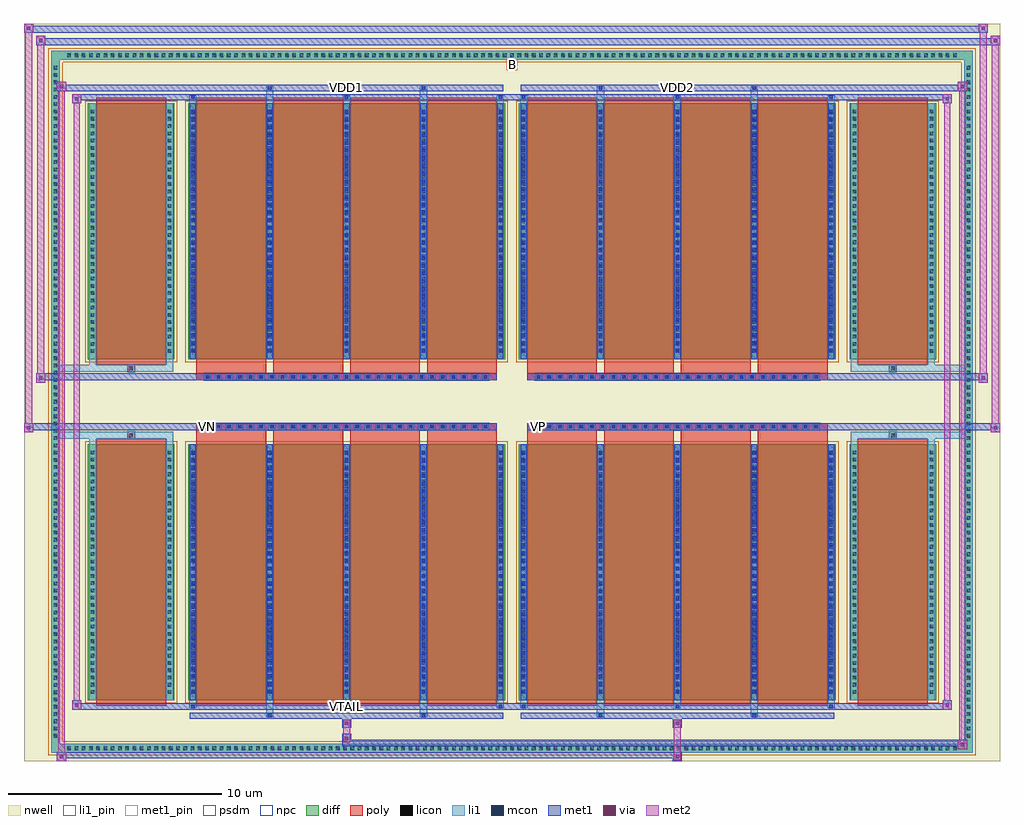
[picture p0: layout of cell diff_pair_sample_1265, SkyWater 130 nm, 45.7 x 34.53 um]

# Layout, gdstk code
import gdstk
lib = gdstk.Library(unit=1e-6, precision=5e-09)
def R(c, l, rs):  # rectangles x0, y0, x1, y1
    for r in rs: c.add(gdstk.rectangle(r[:2], r[2:], *l))
def A(c, l, x, y, w, h, nx, ny, dx, dy):  # array of equal rectangles
    R(c, l, [(x+i*dx, y+j*dy, x+i*dx+w, y+j*dy+h) for i in range(nx) for j in range(ny)])
def P(c, l, *ps):  # polygons
    for p in ps: c.add(gdstk.Polygon(p, *l))
nwell = (64, 20)
diff = (65, 20)
poly = (66, 20)
licon = (66, 44)
li1_pin = (67, 16)
li1 = (67, 20)
mcon = (67, 44)
met1_pin = (68, 16)
met1 = (68, 20)
via = (68, 44)
met2 = (69, 20)
psdm = (94, 20)
npc = (95, 20)

diff_pair_sample_1265 = lib.new_cell('diff_pair_sample_1265')
R(diff_pair_sample_1265, nwell, [(-22.85,-16.83,22.85,17.7), (-20.17,-15.02,-0.01,-0.8), (0.01,-15.02,20.17,-0.8), (-20.17,0.8,-0.01,15.02), (0.01,0.8,20.17,15.02)])
A(diff_pair_sample_1265, diff, -20.945, -16.43, 0.41, 0.41, 123, 2, 0.34, 32.45)
A(diff_pair_sample_1265, diff, -21.58, -15.845, 0.41, 0.41, 1, 93, 0, 0.34)
A(diff_pair_sample_1265, diff, 21.17, -15.845, 0.41, 0.41, 1, 93, 0, 0.34)
R(diff_pair_sample_1265, diff, [(-20.945,-16.43,20.945,-16.02), (-21.58,-15.845,-21.17,15.845), (21.17,-15.845,21.58,15.845), (-19.86,-13.975,-15.81,-1.985), (-15.17,-13.975,-0.32,-1.985), (0.32,-13.975,15.17,-1.985), (15.81,-13.975,19.86,-1.985), (-19.86,1.985,-15.81,13.975), (-15.17,1.985,-0.32,13.975), (0.32,1.985,15.17,13.975), (15.81,1.985,19.86,13.975), (-20.945,16.02,20.945,16.43)])
P(diff_pair_sample_1265, diff, [(21.58,16.43),(-21.58,16.43),(-21.58,-16.02),(-21.17,-16.02),(-21.17,16.02),(21.17,16.02),(21.17,-16.02),(-21.17,-16.02),(-21.58,-16.02),(-21.58,-16.43),(21.58,-16.43)])
A(diff_pair_sample_1265, poly, -14.78, -14.225, 3.27, 12.49, 4, 2, 3.6, 15.96)
A(diff_pair_sample_1265, poly, 0.71, -14.225, 3.27, 12.49, 4, 2, 3.6, 15.96)
A(diff_pair_sample_1265, poly, -14.78, -1.735, 3.27, 0.405, 4, 2, 3.6, 3.065)
A(diff_pair_sample_1265, poly, 0.71, -1.735, 3.27, 0.405, 4, 2, 3.6, 3.065)
A(diff_pair_sample_1265, poly, -14.41, -1.33, 0.33, 0.33, 27, 2, 0.5, 2.33)
A(diff_pair_sample_1265, poly, 1.08, -1.33, 0.33, 0.33, 27, 2, 0.5, 2.33)
R(diff_pair_sample_1265, poly, [(-19.47,-14.225,-16.2,-1.735), (16.2,-14.225,19.47,-1.735), (-18,-1.735,-17.67,-1.405), (-18,-1.735,-17.67,-1.405), (17.67,-1.735,18,-1.405), (17.67,-1.735,18,-1.405), (-14.78,-1.33,-0.71,-1), (0.71,-1.33,14.78,-1), (-14.78,1,-0.71,1.33), (0.71,1,14.78,1.33), (-18,1.405,-17.67,1.735), (-18,1.405,-17.67,1.735), (17.67,1.405,18,1.735), (17.67,1.405,18,1.735), (-19.47,1.735,-16.2,14.225), (16.2,1.735,19.47,14.225)])
A(diff_pair_sample_1265, licon, -20.825, -16.31, 0.17, 0.17, 123, 2, 0.34, 32.45)
A(diff_pair_sample_1265, licon, -21.46, -15.725, 0.17, 0.17, 1, 93, 0, 0.34)
A(diff_pair_sample_1265, licon, 21.29, -15.725, 0.17, 0.17, 1, 93, 0, 0.34)
A(diff_pair_sample_1265, licon, -19.72, -13.675, 0.17, 0.17, 1, 34, 0, 0.34)
A(diff_pair_sample_1265, licon, -16.12, -13.675, 0.17, 0.17, 1, 34, 0, 0.34)
A(diff_pair_sample_1265, licon, -15.03, -13.675, 0.17, 0.17, 5, 34, 3.6, 0.34)
A(diff_pair_sample_1265, licon, 0.46, -13.675, 0.17, 0.17, 5, 34, 3.6, 0.34)
A(diff_pair_sample_1265, licon, 15.95, -13.675, 0.17, 0.17, 1, 34, 0, 0.34)
A(diff_pair_sample_1265, licon, 19.55, -13.675, 0.17, 0.17, 1, 34, 0, 0.34)
A(diff_pair_sample_1265, licon, -14.33, -1.25, 0.17, 0.17, 27, 2, 0.5, 2.33)
A(diff_pair_sample_1265, licon, 1.16, -1.25, 0.17, 0.17, 27, 2, 0.5, 2.33)
A(diff_pair_sample_1265, licon, -19.72, 2.285, 0.17, 0.17, 1, 34, 0, 0.34)
A(diff_pair_sample_1265, licon, -16.12, 2.285, 0.17, 0.17, 1, 34, 0, 0.34)
A(diff_pair_sample_1265, licon, -15.03, 2.285, 0.17, 0.17, 5, 34, 3.6, 0.34)
A(diff_pair_sample_1265, licon, 0.46, 2.285, 0.17, 0.17, 5, 34, 3.6, 0.34)
A(diff_pair_sample_1265, licon, 15.95, 2.285, 0.17, 0.17, 1, 34, 0, 0.34)
A(diff_pair_sample_1265, licon, 19.55, 2.285, 0.17, 0.17, 1, 34, 0, 0.34)
R(diff_pair_sample_1265, licon, [(-17.92,-1.655,-17.75,-1.485), (17.75,-1.655,17.92,-1.485), (-17.92,1.485,-17.75,1.655), (17.75,1.485,17.92,1.655)])
R(diff_pair_sample_1265, li1_pin, [(-0.25,15.52,0.25,16.02)])
A(diff_pair_sample_1265, li1, -20.905, -16.39, 0.33, 0.33, 123, 2, 0.34, 32.45)
A(diff_pair_sample_1265, li1, -21.54, -15.805, 0.33, 0.33, 1, 93, 0, 0.34)
A(diff_pair_sample_1265, li1, 21.21, -15.805, 0.33, 0.33, 1, 93, 0, 0.34)
A(diff_pair_sample_1265, li1, -15.11, -14.35, 0.33, 0.375, 3, 2, 7.2, 28.325)
A(diff_pair_sample_1265, li1, -15.03, -14.35, 0.17, 0.17, 3, 2, 7.2, 28.53)
A(diff_pair_sample_1265, li1, 0.38, -14.35, 0.33, 0.375, 3, 2, 7.2, 28.325)
A(diff_pair_sample_1265, li1, 0.46, -14.35, 0.17, 0.17, 3, 2, 7.2, 28.53)
A(diff_pair_sample_1265, li1, -15.11, -13.975, 0.33, 11.99, 5, 2, 3.6, 15.96)
A(diff_pair_sample_1265, li1, 0.38, -13.975, 0.33, 11.99, 5, 2, 3.6, 15.96)
A(diff_pair_sample_1265, li1, -19.8, -13.755, 0.33, 0.33, 1, 34, 0, 0.34)
A(diff_pair_sample_1265, li1, -16.2, -13.755, 0.33, 0.33, 1, 34, 0, 0.34)
A(diff_pair_sample_1265, li1, -15.11, -13.755, 0.33, 0.33, 5, 34, 3.6, 0.34)
A(diff_pair_sample_1265, li1, 0.38, -13.755, 0.33, 0.33, 5, 34, 3.6, 0.34)
A(diff_pair_sample_1265, li1, 15.87, -13.755, 0.33, 0.33, 1, 34, 0, 0.34)
A(diff_pair_sample_1265, li1, 19.47, -13.755, 0.33, 0.33, 1, 34, 0, 0.34)
A(diff_pair_sample_1265, li1, -15.03, -13.645, 0.17, 0.17, 5, 32, 3.6, 0.36)
A(diff_pair_sample_1265, li1, -15.03, -13.645, 0.17, 11.33, 5, 2, 3.6, 15.96)
A(diff_pair_sample_1265, li1, 0.46, -13.645, 0.17, 0.17, 5, 32, 3.6, 0.36)
A(diff_pair_sample_1265, li1, 0.46, -13.645, 0.17, 11.33, 5, 2, 3.6, 15.96)
A(diff_pair_sample_1265, li1, -14.41, -1.33, 0.33, 0.33, 27, 2, 0.5, 2.33)
A(diff_pair_sample_1265, li1, 1.08, -1.33, 0.33, 0.33, 27, 2, 0.5, 2.33)
A(diff_pair_sample_1265, li1, -19.8, 2.205, 0.33, 0.33, 1, 34, 0, 0.34)
A(diff_pair_sample_1265, li1, -16.2, 2.205, 0.33, 0.33, 1, 34, 0, 0.34)
A(diff_pair_sample_1265, li1, -15.11, 2.205, 0.33, 0.33, 5, 34, 3.6, 0.34)
A(diff_pair_sample_1265, li1, 0.38, 2.205, 0.33, 0.33, 5, 34, 3.6, 0.34)
A(diff_pair_sample_1265, li1, 15.87, 2.205, 0.33, 0.33, 1, 34, 0, 0.34)
A(diff_pair_sample_1265, li1, 19.47, 2.205, 0.33, 0.33, 1, 34, 0, 0.34)
A(diff_pair_sample_1265, li1, -15.03, 2.315, 0.17, 0.17, 5, 32, 3.6, 0.36)
A(diff_pair_sample_1265, li1, 0.46, 2.315, 0.17, 0.17, 5, 32, 3.6, 0.36)
R(diff_pair_sample_1265, li1, [(-21.58,-16.43,-21.17,-16.02), (-21.58,-16.43,-21.17,-16.02), (-21.17,-16.43,21.17,-16.02), (21.17,-16.43,21.58,-16.02), (21.17,-16.43,21.58,-16.02), (-21.58,-16.02,-21.17,16.02), (21.17,-16.02,21.58,16.02), (-11.51,-14.78,-11.18,-13.975), (-11.43,-14.78,-11.26,-14.61), (-4.31,-14.78,-3.98,-13.975), (-4.23,-14.78,-4.06,-14.61), (3.98,-14.78,4.31,-13.975), (4.06,-14.78,4.23,-14.61), (11.18,-14.78,11.51,-13.975), (11.26,-14.78,11.43,-14.61), (-19.8,-13.975,-19.47,-1.985), (-16.2,-13.975,-15.87,-1.985), (15.87,-13.975,16.2,-1.985), (19.47,-13.975,19.8,-1.985), (-19.8,-1.985,-19.47,-1.405), (-16.2,-1.985,-15.87,-1.405), (15.87,-1.985,16.2,-1.405), (19.47,-1.985,19.8,-1.405), (-21.58,-1.735,-18,-1.405), (-19.8,-1.735,-18,-1.405), (-18,-1.735,-17.67,-1.405), (-17.67,-1.735,-15.87,-1.405), (15.87,-1.735,17.67,-1.405), (17.67,-1.735,18,-1.405), (17.67,-1.735,21.58,-1.405), (18,-1.735,19.8,-1.405), (-21.58,1.405,-18,1.735), (-19.8,1.405,-18,1.735), (-19.8,1.405,-19.47,1.985), (-18,1.405,-17.67,1.735), (-17.67,1.405,-15.87,1.735), (-16.2,1.405,-15.87,1.985), (15.87,1.405,17.67,1.735), (15.87,1.405,16.2,1.985), (17.67,1.405,18,1.735), (17.67,1.405,21.58,1.735), (18,1.405,19.8,1.735), (19.47,1.405,19.8,1.985), (-19.8,1.985,-19.47,13.975), (-16.2,1.985,-15.87,13.975), (15.87,1.985,16.2,13.975), (19.47,1.985,19.8,13.975), (-11.51,13.975,-11.18,14.78), (-4.31,13.975,-3.98,14.78), (3.98,13.975,4.31,14.78), (11.18,13.975,11.51,14.78), (-11.43,14.61,-11.26,14.78), (-4.23,14.61,-4.06,14.78), (4.06,14.61,4.23,14.78), (11.26,14.61,11.43,14.78), (-21.58,16.02,-21.17,16.43), (-21.58,16.02,-21.17,16.43), (-21.17,16.02,21.17,16.43), (21.17,16.02,21.58,16.43), (21.17,16.02,21.58,16.43)])
A(diff_pair_sample_1265, mcon, -15.03, -14.35, 0.17, 0.17, 3, 2, 7.2, 28.53)
A(diff_pair_sample_1265, mcon, 0.46, -14.35, 0.17, 0.17, 3, 2, 7.2, 28.53)
A(diff_pair_sample_1265, mcon, -15.03, -13.645, 0.17, 0.17, 5, 32, 3.6, 0.36)
A(diff_pair_sample_1265, mcon, 0.46, -13.645, 0.17, 0.17, 5, 32, 3.6, 0.36)
A(diff_pair_sample_1265, mcon, -14.33, -1.25, 0.17, 0.17, 27, 2, 0.5, 2.33)
A(diff_pair_sample_1265, mcon, 1.16, -1.25, 0.17, 0.17, 27, 2, 0.5, 2.33)
A(diff_pair_sample_1265, mcon, -15.03, 2.315, 0.17, 0.17, 5, 32, 3.6, 0.36)
A(diff_pair_sample_1265, mcon, 0.46, 2.315, 0.17, 0.17, 5, 32, 3.6, 0.36)
R(diff_pair_sample_1265, mcon, [(-11.43,-14.78,-11.26,-14.61), (-4.23,-14.78,-4.06,-14.61), (4.06,-14.78,4.23,-14.61), (11.26,-14.78,11.43,-14.61), (-11.43,14.61,-11.26,14.78), (-4.23,14.61,-4.06,14.78), (4.06,14.61,4.23,14.78), (11.26,14.61,11.43,14.78)])
R(diff_pair_sample_1265, met1_pin, [(-7.88,-14.39,-7.61,-14.12), (-14.38,-1.29,-14.11,-1.02), (1.11,-1.29,1.38,-1.02), (-7.88,14.57,-7.61,14.84), (7.61,14.57,7.88,14.84)])
A(diff_pair_sample_1265, met1, -15.09, -14.41, 0.29, 0.29, 3, 2, 7.2, 28.53)
A(diff_pair_sample_1265, met1, 0.4, -14.41, 0.29, 0.29, 3, 2, 7.2, 28.53)
A(diff_pair_sample_1265, met1, -15.09, -13.975, 0.29, 11.99, 5, 2, 3.6, 15.96)
A(diff_pair_sample_1265, met1, 0.4, -13.975, 0.29, 11.99, 5, 2, 3.6, 15.96)
A(diff_pair_sample_1265, met1, -15.09, -13.705, 0.29, 0.29, 5, 32, 3.6, 0.36)
A(diff_pair_sample_1265, met1, 0.4, -13.705, 0.29, 0.29, 5, 32, 3.6, 0.36)
A(diff_pair_sample_1265, met1, -14.39, -1.31, 0.29, 0.29, 27, 2, 0.5, 2.33)
A(diff_pair_sample_1265, met1, 1.1, -1.31, 0.29, 0.29, 27, 2, 0.5, 2.33)
A(diff_pair_sample_1265, met1, -15.09, 2.255, 0.29, 0.29, 5, 32, 3.6, 0.36)
A(diff_pair_sample_1265, met1, 0.4, 2.255, 0.29, 0.29, 5, 32, 3.6, 0.36)
R(diff_pair_sample_1265, met1, [(-21.31,-16.83,-20.88,-16.4), (7.53,-16.83,7.96,-16.4), (-21.31,-16.69,7.96,-16.4), (20.88,-16.26,21.31,-15.83), (-7.96,-16.12,21.31,-15.83), (-7.96,-15.98,-7.53,-15.55), (-7.96,-15.27,-7.53,-14.84), (7.53,-15.27,7.96,-14.84), (-15.09,-14.84,-0.4,-14.55), (-11.49,-14.84,-11.2,-14.55), (-4.29,-14.84,-4,-14.55), (0.4,-14.84,15.09,-14.55), (4,-14.84,4.29,-14.55), (11.2,-14.84,11.49,-14.55), (-20.6,-14.41,-20.17,-13.98), (-20.6,-14.41,-15.09,-14.12), (-15.09,-14.41,-0.4,-14.12), (-0.4,-14.41,0.4,-14.12), (0.4,-14.41,15.09,-14.12), (15.09,-14.41,20.6,-14.12), (20.17,-14.41,20.6,-13.98), (-22.85,-1.43,-22.42,-1), (22.42,-1.43,22.85,-1), (-22.85,-1.33,-0.71,-1), (-14.78,-1.33,-0.71,-1), (0.71,-1.33,14.78,-1), (0.71,-1.33,22.85,-1), (-22.28,0.9,-21.85,1.33), (21.85,0.9,22.28,1.33), (-22.28,1,-14.78,1.33), (-14.78,1,-0.71,1.33), (0.71,1,14.78,1.33), (14.78,1,22.28,1.33), (-20.6,13.98,-20.17,14.41), (20.17,13.98,20.6,14.41), (-20.6,14.12,-15.09,14.41), (-15.09,14.12,-0.4,14.41), (-0.4,14.12,0.4,14.41), (0.4,14.12,15.09,14.41), (15.09,14.12,20.6,14.41), (-21.31,14.55,-20.88,14.98), (-21.31,14.55,-15.09,14.84), (-15.09,14.55,-0.4,14.84), (-11.49,14.55,-11.2,14.84), (-4.29,14.55,-4,14.84), (0.4,14.55,15.09,14.84), (4,14.55,4.29,14.84), (11.2,14.55,11.49,14.84), (15.09,14.55,21.31,14.84), (20.88,14.55,21.31,14.98), (-22.28,16.7,-21.85,17.13), (-22.28,16.7,-20.17,17.03), (-20.17,16.7,20.17,17.03), (20.17,16.7,22.85,17.03), (22.42,16.7,22.85,17.13), (-22.85,17.27,-22.42,17.7), (-22.85,17.27,-20.17,17.6), (-20.17,17.27,20.17,17.6), (20.17,17.27,22.28,17.6), (21.85,17.27,22.28,17.7)])
R(diff_pair_sample_1265, via, [(-21.17,-16.69,-21.02,-16.54), (7.67,-16.69,7.82,-16.54), (21.02,-16.12,21.17,-15.97), (-7.82,-15.84,-7.67,-15.69), (-7.82,-15.13,-7.67,-14.98), (7.67,-15.13,7.82,-14.98), (-20.46,-14.27,-20.31,-14.12), (20.31,-14.27,20.46,-14.12), (-22.71,-1.29,-22.56,-1.14), (22.56,-1.29,22.71,-1.14), (-22.14,1.04,-21.99,1.19), (21.99,1.04,22.14,1.19), (-20.46,14.12,-20.31,14.27), (20.31,14.12,20.46,14.27), (-21.17,14.69,-21.02,14.84), (21.02,14.69,21.17,14.84), (-22.14,16.84,-21.99,16.99), (22.56,16.84,22.71,16.99), (-22.71,17.41,-22.56,17.56), (21.99,17.41,22.14,17.56)])
R(diff_pair_sample_1265, met2, [(-21.31,-16.83,-20.88,-16.4), (-21.24,-16.83,-20.95,14.98), (-20.95,-16.83,-20.88,-16.4), (-21.26,-16.78,-20.93,-16.45), (7.58,-16.78,7.91,-16.45), (7.58,-16.45,7.91,-15.22), (20.88,-16.26,21.31,-15.83), (20.95,-16.26,21.24,14.98), (21.24,-16.26,21.31,-15.83), (20.93,-16.21,21.26,-15.88), (-7.91,-15.93,-7.58,-15.6), (-7.91,-15.6,-7.58,-15.22), (-7.91,-15.22,-7.58,-14.89), (7.58,-15.22,7.91,-14.89), (-20.6,-14.41,-20.17,-13.98), (-20.53,-14.41,-20.24,14.41), (-20.24,-14.41,-20.17,-13.98), (20.17,-14.41,20.6,-13.98), (20.24,-14.41,20.53,14.41), (20.53,-14.41,20.6,-13.98), (-20.55,-14.36,-20.22,-14.03), (20.22,-14.36,20.55,-14.03), (-22.85,-1.43,-22.42,-1), (-22.8,-1.43,-22.47,17.7), (-22.47,-1.43,-22.42,-1), (22.42,-1.43,22.85,-1), (22.47,-1.43,22.8,17.13), (22.8,-1.43,22.85,-1), (-22.8,-1.38,-22.47,-1.05), (22.47,-1.38,22.8,-1.05), (-22.28,0.9,-21.85,1.33), (-22.23,0.9,-21.9,17.13), (-21.9,0.9,-21.85,1.33), (21.85,0.9,22.28,1.33), (21.9,0.9,22.23,17.7), (22.23,0.9,22.28,1.33), (-22.23,0.95,-21.9,1.28), (21.9,0.95,22.23,1.28), (-20.6,13.98,-20.17,14.41), (-20.24,13.98,-20.17,14.41), (20.17,13.98,20.6,14.41), (20.53,13.98,20.6,14.41), (-20.55,14.03,-20.22,14.36), (20.22,14.03,20.55,14.36), (-21.31,14.55,-20.88,14.98), (-20.95,14.55,-20.88,14.98), (20.88,14.55,21.31,14.98), (21.24,14.55,21.31,14.98), (-21.26,14.6,-20.93,14.93), (20.93,14.6,21.26,14.93), (-22.28,16.7,-21.85,17.13), (-21.9,16.7,-21.85,17.13), (22.42,16.7,22.85,17.13), (22.8,16.7,22.85,17.13), (-22.23,16.75,-21.9,17.08), (22.47,16.75,22.8,17.08), (-22.85,17.27,-22.42,17.7), (-22.47,17.27,-22.42,17.7), (21.85,17.27,22.28,17.7), (22.23,17.27,22.28,17.7), (-22.8,17.32,-22.47,17.65), (21.9,17.32,22.23,17.65)])
R(diff_pair_sample_1265, psdm, [(-19.99,-14.105,-15.68,-1.855), (-15.3,-14.105,-0.19,-1.855), (0.19,-14.105,15.3,-1.855), (15.68,-14.105,19.99,-1.855), (-19.99,1.855,-15.68,14.105), (-15.3,1.855,-0.19,14.105), (0.19,1.855,15.3,14.105), (15.68,1.855,19.99,14.105)])
P(diff_pair_sample_1265, psdm, [(21.71,16.56),(-21.71,16.56),(-21.71,-15.89),(-21.04,-15.89),(-21.04,15.89),(21.04,15.89),(21.04,-15.89),(-21.04,-15.89),(-21.71,-15.89),(-21.71,-16.56),(21.71,-16.56)])
A(diff_pair_sample_1265, npc, -14.43, -1.35, 0.37, 0.37, 27, 2, 0.5, 2.33)
A(diff_pair_sample_1265, npc, 1.06, -1.35, 0.37, 0.37, 27, 2, 0.5, 2.33)
R(diff_pair_sample_1265, npc, [(-18.02,-1.755,-17.65,-1.385), (17.65,-1.755,18.02,-1.385), (-14.43,-1.35,-13.56,-0.98), (-14.43,-1.35,-13.56,-0.98), (-13.93,-1.35,-13.06,-0.98), (-13.93,-1.35,-13.06,-0.98), (-13.43,-1.35,-12.56,-0.98), (-13.43,-1.35,-12.56,-0.98), (-12.93,-1.35,-12.06,-0.98), (-12.93,-1.35,-12.06,-0.98), (-12.43,-1.35,-11.56,-0.98), (-12.43,-1.35,-11.56,-0.98), (-11.93,-1.35,-11.06,-0.98), (-11.93,-1.35,-11.06,-0.98), (-11.43,-1.35,-10.56,-0.98), (-11.43,-1.35,-10.56,-0.98), (-10.93,-1.35,-10.06,-0.98), (-10.93,-1.35,-10.06,-0.98), (-10.43,-1.35,-9.56,-0.98), (-10.43,-1.35,-9.56,-0.98), (-9.93,-1.35,-9.06,-0.98), (-9.93,-1.35,-9.06,-0.98), (-9.43,-1.35,-8.56,-0.98), (-9.43,-1.35,-8.56,-0.98), (-8.93,-1.35,-8.06,-0.98), (-8.93,-1.35,-8.06,-0.98), (-8.43,-1.35,-7.56,-0.98), (-8.43,-1.35,-7.56,-0.98), (-7.93,-1.35,-7.06,-0.98), (-7.93,-1.35,-7.06,-0.98), (-7.43,-1.35,-6.56,-0.98), (-7.43,-1.35,-6.56,-0.98), (-6.93,-1.35,-6.06,-0.98), (-6.93,-1.35,-6.06,-0.98), (-6.43,-1.35,-5.56,-0.98), (-6.43,-1.35,-5.56,-0.98), (-5.93,-1.35,-5.06,-0.98), (-5.93,-1.35,-5.06,-0.98), (-5.43,-1.35,-4.56,-0.98), (-5.43,-1.35,-4.56,-0.98), (-4.93,-1.35,-4.06,-0.98), (-4.93,-1.35,-4.06,-0.98), (-4.43,-1.35,-3.56,-0.98), (-4.43,-1.35,-3.56,-0.98), (-3.93,-1.35,-3.06,-0.98), (-3.93,-1.35,-3.06,-0.98), (-3.43,-1.35,-2.56,-0.98), (-3.43,-1.35,-2.56,-0.98), (-2.93,-1.35,-2.06,-0.98), (-2.93,-1.35,-2.06,-0.98), (-2.43,-1.35,-1.56,-0.98), (-2.43,-1.35,-1.56,-0.98), (-1.93,-1.35,-1.06,-0.98), (-1.93,-1.35,-1.06,-0.98), (1.06,-1.35,1.93,-0.98), (1.06,-1.35,1.93,-0.98), (1.56,-1.35,2.43,-0.98), (1.56,-1.35,2.43,-0.98), (2.06,-1.35,2.93,-0.98), (2.06,-1.35,2.93,-0.98), (2.56,-1.35,3.43,-0.98), (2.56,-1.35,3.43,-0.98), (3.06,-1.35,3.93,-0.98), (3.06,-1.35,3.93,-0.98), (3.56,-1.35,4.43,-0.98), (3.56,-1.35,4.43,-0.98), (4.06,-1.35,4.93,-0.98), (4.06,-1.35,4.93,-0.98), (4.56,-1.35,5.43,-0.98), (4.56,-1.35,5.43,-0.98), (5.06,-1.35,5.93,-0.98), (5.06,-1.35,5.93,-0.98), (5.56,-1.35,6.43,-0.98), (5.56,-1.35,6.43,-0.98), (6.06,-1.35,6.93,-0.98), (6.06,-1.35,6.93,-0.98), (6.56,-1.35,7.43,-0.98), (6.56,-1.35,7.43,-0.98), (7.06,-1.35,7.93,-0.98), (7.06,-1.35,7.93,-0.98), (7.56,-1.35,8.43,-0.98), (7.56,-1.35,8.43,-0.98), (8.06,-1.35,8.93,-0.98), (8.06,-1.35,8.93,-0.98), (8.56,-1.35,9.43,-0.98), (8.56,-1.35,9.43,-0.98), (9.06,-1.35,9.93,-0.98), (9.06,-1.35,9.93,-0.98), (9.56,-1.35,10.43,-0.98), (9.56,-1.35,10.43,-0.98), (10.06,-1.35,10.93,-0.98), (10.06,-1.35,10.93,-0.98), (10.56,-1.35,11.43,-0.98), (10.56,-1.35,11.43,-0.98), (11.06,-1.35,11.93,-0.98), (11.06,-1.35,11.93,-0.98), (11.56,-1.35,12.43,-0.98), (11.56,-1.35,12.43,-0.98), (12.06,-1.35,12.93,-0.98), (12.06,-1.35,12.93,-0.98), (12.56,-1.35,13.43,-0.98), (12.56,-1.35,13.43,-0.98), (13.06,-1.35,13.93,-0.98), (13.06,-1.35,13.93,-0.98), (13.56,-1.35,14.43,-0.98), (13.56,-1.35,14.43,-0.98), (-14.43,0.98,-13.56,1.35), (-14.43,0.98,-13.56,1.35), (-13.93,0.98,-13.06,1.35), (-13.93,0.98,-13.06,1.35), (-13.43,0.98,-12.56,1.35), (-13.43,0.98,-12.56,1.35), (-12.93,0.98,-12.06,1.35), (-12.93,0.98,-12.06,1.35), (-12.43,0.98,-11.56,1.35), (-12.43,0.98,-11.56,1.35), (-11.93,0.98,-11.06,1.35), (-11.93,0.98,-11.06,1.35), (-11.43,0.98,-10.56,1.35), (-11.43,0.98,-10.56,1.35), (-10.93,0.98,-10.06,1.35), (-10.93,0.98,-10.06,1.35), (-10.43,0.98,-9.56,1.35), (-10.43,0.98,-9.56,1.35), (-9.93,0.98,-9.06,1.35), (-9.93,0.98,-9.06,1.35), (-9.43,0.98,-8.56,1.35), (-9.43,0.98,-8.56,1.35), (-8.93,0.98,-8.06,1.35), (-8.93,0.98,-8.06,1.35), (-8.43,0.98,-7.56,1.35), (-8.43,0.98,-7.56,1.35), (-7.93,0.98,-7.06,1.35), (-7.93,0.98,-7.06,1.35), (-7.43,0.98,-6.56,1.35), (-7.43,0.98,-6.56,1.35), (-6.93,0.98,-6.06,1.35), (-6.93,0.98,-6.06,1.35), (-6.43,0.98,-5.56,1.35), (-6.43,0.98,-5.56,1.35), (-5.93,0.98,-5.06,1.35), (-5.93,0.98,-5.06,1.35), (-5.43,0.98,-4.56,1.35), (-5.43,0.98,-4.56,1.35), (-4.93,0.98,-4.06,1.35), (-4.93,0.98,-4.06,1.35), (-4.43,0.98,-3.56,1.35), (-4.43,0.98,-3.56,1.35), (-3.93,0.98,-3.06,1.35), (-3.93,0.98,-3.06,1.35), (-3.43,0.98,-2.56,1.35), (-3.43,0.98,-2.56,1.35), (-2.93,0.98,-2.06,1.35), (-2.93,0.98,-2.06,1.35), (-2.43,0.98,-1.56,1.35), (-2.43,0.98,-1.56,1.35), (-1.93,0.98,-1.06,1.35), (-1.93,0.98,-1.06,1.35), (1.06,0.98,1.93,1.35), (1.06,0.98,1.93,1.35), (1.56,0.98,2.43,1.35), (1.56,0.98,2.43,1.35), (2.06,0.98,2.93,1.35), (2.06,0.98,2.93,1.35), (2.56,0.98,3.43,1.35), (2.56,0.98,3.43,1.35), (3.06,0.98,3.93,1.35), (3.06,0.98,3.93,1.35), (3.56,0.98,4.43,1.35), (3.56,0.98,4.43,1.35), (4.06,0.98,4.93,1.35), (4.06,0.98,4.93,1.35), (4.56,0.98,5.43,1.35), (4.56,0.98,5.43,1.35), (5.06,0.98,5.93,1.35), (5.06,0.98,5.93,1.35), (5.56,0.98,6.43,1.35), (5.56,0.98,6.43,1.35), (6.06,0.98,6.93,1.35), (6.06,0.98,6.93,1.35), (6.56,0.98,7.43,1.35), (6.56,0.98,7.43,1.35), (7.06,0.98,7.93,1.35), (7.06,0.98,7.93,1.35), (7.56,0.98,8.43,1.35), (7.56,0.98,8.43,1.35), (8.06,0.98,8.93,1.35), (8.06,0.98,8.93,1.35), (8.56,0.98,9.43,1.35), (8.56,0.98,9.43,1.35), (9.06,0.98,9.93,1.35), (9.06,0.98,9.93,1.35), (9.56,0.98,10.43,1.35), (9.56,0.98,10.43,1.35), (10.06,0.98,10.93,1.35), (10.06,0.98,10.93,1.35), (10.56,0.98,11.43,1.35), (10.56,0.98,11.43,1.35), (11.06,0.98,11.93,1.35), (11.06,0.98,11.93,1.35), (11.56,0.98,12.43,1.35), (11.56,0.98,12.43,1.35), (12.06,0.98,12.93,1.35), (12.06,0.98,12.93,1.35), (12.56,0.98,13.43,1.35), (12.56,0.98,13.43,1.35), (13.06,0.98,13.93,1.35), (13.06,0.98,13.93,1.35), (13.56,0.98,14.43,1.35), (13.56,0.98,14.43,1.35), (-18.02,1.385,-17.65,1.755), (17.65,1.385,18.02,1.755)])
diff_pair_sample_1265.add(gdstk.Label('VTAIL', (-7.745,-14.255), layer=68, texttype=5))
diff_pair_sample_1265.add(gdstk.Label('VN', (-14.245,-1.155), layer=68, texttype=5))
diff_pair_sample_1265.add(gdstk.Label('VP', (1.245,-1.155), layer=68, texttype=5))
diff_pair_sample_1265.add(gdstk.Label('B', (0,15.77), layer=67, texttype=5))
diff_pair_sample_1265.add(gdstk.Label('VDD2', (7.745,14.705), layer=68, texttype=5))
diff_pair_sample_1265.add(gdstk.Label('VDD1', (-7.745,14.705), layer=68, texttype=5))

lib.write_gds('diff_pair_sample_1265.gds')
